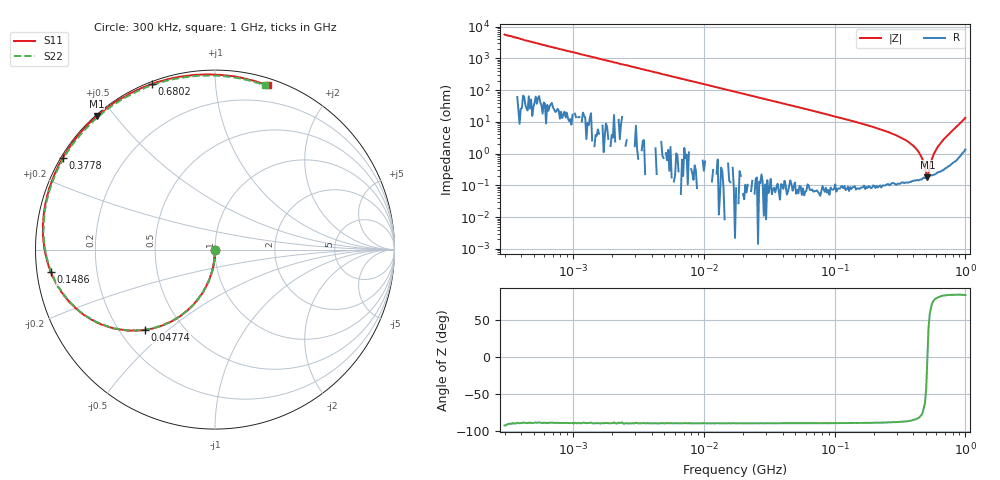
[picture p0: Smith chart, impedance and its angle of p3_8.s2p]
#  HZ  S  RI  R  50
! Rohde & Schwarz ZVA/B
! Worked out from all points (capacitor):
!   401 points, 300 kHz to 1 GHz, reference 50 ohm
!   read as one part in shunt: C = 97.6 pF near 312.4 kHz
!   lowest |Z| = 180 mohm at 512.1 MHz (marker M1)
!   series resonance near 512.2 MHz, so ESL is about 990 pH
!   S11 on the Smith chart (normalised r, x): 300 kHz: 1.00, -0.01; 47.74 MHz: 0.30, -0.42; 148.6 MHz: 0.04, -0.07; 377.8 MHz: 0.01, +0.28; 680.2 MHz: 0.01, +0.69; 1 GHz: 0.06, +1.37
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300000  0.000645 -0.0039  0.9997 -0.00502  1 -0.00535  0.000342 -0.00334
423490.4  3.78e-05 -0.00596  0.9995 -0.00722  0.9999 -0.00729  -2.22e-05 -0.00604
1167356  -7.62e-05 -0.0177  0.9993 -0.0204  0.9996 -0.0195  -0.000897 -0.018
4542403  -0.00488 -0.0684  0.9946 -0.0776  0.9944 -0.0765  -0.00504 -0.0686
1.732051e7  -0.0721 -0.2458  0.9244 -0.2759  0.9269 -0.2752  -0.0737 -0.2458
2.934592e7  -0.1876 -0.3653  0.809 -0.4145  0.8107 -0.4148  -0.1871 -0.3653
4.774418e7  -0.3892 -0.4465  0.605 -0.527  0.6048 -0.5265  -0.3894 -0.4463
6.739735e7  -0.5765 -0.4352  0.4144 -0.5467  0.4147 -0.5466  -0.5768 -0.4347
9.708952e7  -0.766 -0.3352  0.2186 -0.494  0.2183 -0.494  -0.7641 -0.3344
1.486358e8  -0.9145 -0.1266  0.0538 -0.3657  0.0539 -0.3659  -0.911 -0.1264
2.622557e8  -0.9477 0.2406  -0.0399 -0.1746  -0.0399 -0.1745  -0.9434 0.2379
3.777936e8  -0.8479 0.5096  -0.0357 -0.0694  -0.0358 -0.0695  -0.847 0.5031
4.443366e8  -0.7615 0.6366  -0.019 -0.0312  -0.0187 -0.0311  -0.7619 0.6258
4.722084e8  -0.7209 0.6824  -0.01 -0.0191  -0.0101 -0.0191  -0.7212 0.6722
4.917542e8  -0.6902 0.7139  -0.00343 -0.0113  -0.00381 -0.0115  -0.6921 0.7019
5.121091e8  -0.6588 0.7442  0.00393 -0.00445  0.00406 -0.00479  -0.6606 0.7324
5.333065e8  -0.6225 0.7729  0.0121 0.00146  0.0121 0.00188  -0.6265 0.7614
5.553813e8  -0.5848 0.8012  0.0204 0.00715  0.02 0.00724  -0.589 0.7903
5.902186e8  -0.5213 0.8431  0.0341 0.0136  0.0342 0.0134  -0.5282 0.8304
6.802417e8  -0.35 0.9226  0.0712 0.0197  0.0709 0.0193  -0.3611 0.9127
8.331731e8  -0.0392 0.9764  0.1287 -0.00303  0.1286 -0.00281  -0.0557 0.9689
1e9  0.2932 0.9145  0.1677 -0.0643  0.1681 -0.0641  0.277 0.9167
